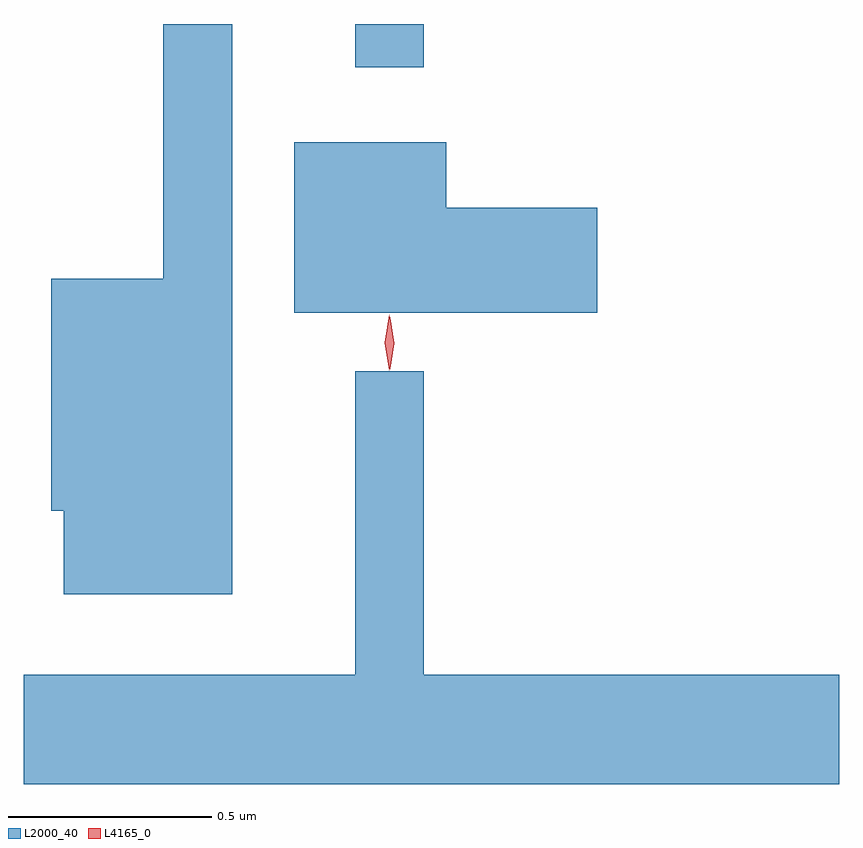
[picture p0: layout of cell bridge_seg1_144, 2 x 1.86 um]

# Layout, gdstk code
import gdstk
lib = gdstk.Library(unit=1e-6, precision=1e-09)
def R(c, l, rs):  # rectangles x0, y0, x1, y1
    for r in rs: c.add(gdstk.rectangle(r[:2], r[2:], *l))
def P(c, l, *ps):  # polygons
    for p in ps: c.add(gdstk.Polygon(p, *l))
L2000_40 = (2000, 40)
L4165_0 = (4165, 0)

bridge_seg1_144 = lib.new_cell('bridge_seg1_144')
R(bridge_seg1_144, L2000_40, [(964.891,974.593,965.059,974.699)])
P(bridge_seg1_144, L2000_40, [(964.589,974.699),(964.421,974.699),(964.421,974.074),(964.146,974.074),(964.146,973.506),(964.176,973.506),(964.176,973.301),(964.589,973.301)],
  [(965.484,974.249),(965.114,974.249),(965.114,974.409),(964.741,974.409),(964.741,973.991),(965.484,973.991)],
  [(966.078,973.104),(965.059,973.104),(965.059,973.848),(964.891,973.848),(964.891,973.104),(964.078,973.104),(964.078,972.836),(966.078,972.836)])
P(bridge_seg1_144, L4165_0, [(964.974,973.85),(964.974,973.85),(964.964,973.918),(964.974,973.986),(964.974,973.986),(964.975,973.986),(964.984,973.918),(964.975,973.85)],
  [(964.977,973.853),(964.976,973.854),(964.967,973.916),(964.976,973.979),(964.977,973.98),(964.977,973.979),(964.987,973.916),(964.977,973.854)])

lib.write_gds('bridge_seg1_144.gds')
